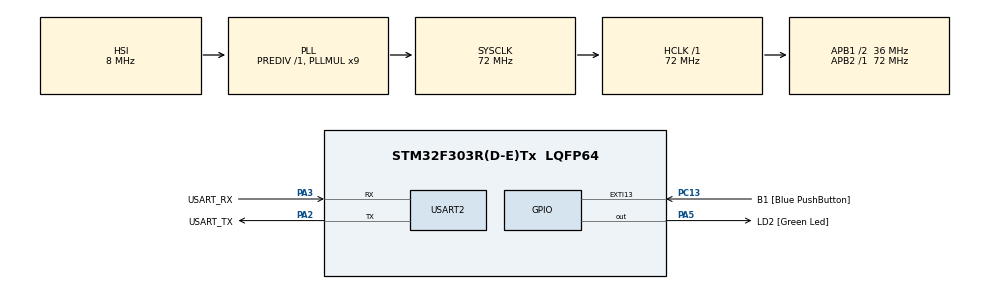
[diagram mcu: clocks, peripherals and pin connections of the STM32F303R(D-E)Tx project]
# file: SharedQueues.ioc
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Mcu.Family=STM32F3
PC15-OSC32_OUT.Mode=LSE-External-Oscillator
PA2.GPIO_PuPd=GPIO_NOPULL
FREERTOS.Queues01=myQueue01,16,uint16_t,0,Static,myQueue01Buffer,myQueue01ControlBlock
VP_SYS_VS_tim6.Mode=TIM6
RCC.CortexFreq_Value=72000000
FREERTOS.Tasks01=queue01,24,128,ManageQueue01,Default,NULL,Dynamic,NULL,NULL;queue02,24,128,ManageQueue02,Default,NULL,Dynamic,NULL,NULL
NVIC.TIM6_DAC_IRQn=true\:0\:0\:false\:false\:true\:false\:false\:true
PC13.Signal=GPXTI13
PA14.GPIO_Label=TCK
RCC.SYSCLKSourceVirtual=RCC_SYSCLKSOURCE_PLLCLK
PA3.GPIO_PuPd=GPIO_NOPULL
PA2.GPIO_Speed=GPIO_SPEED_FREQ_LOW
PC13.GPIO_Label=B1 [Blue PushButton]
RCC.APB1CLKDivider=RCC_HCLK_DIV2
PC14-OSC32_IN.Signal=RCC_OSC32_IN
PA3.GPIO_Speed=GPIO_SPEED_FREQ_LOW
ProjectManager.StackSize=0x400
VP_FREERTOS_VS_CMSIS_V2.Mode=CMSIS_V2
PA13.Signal=SYS_JTMS-SWDIO
PA3.Mode=Asynchronous
ProjectManager.TargetToolchain=STM32CubeIDE
PA3.GPIO_Mode=GPIO_MODE_AF_PP
RCC.HCLKFreq_Value=72000000
RCC.APB2TimFreq_Value=72000000
RCC.USBFreq_Value=72000000
PC15-OSC32_OUT.Signal=RCC_OSC32_OUT
RCC.AHBFreq_Value=72000000
PF0-OSC_IN.Mode=HSE-External-Clock-Source
PA5.Signal=GPIO_Output
RCC.HSE_VALUE=8000000
board=NUCLEO-F303RE
USART2.VirtualMode-Asynchronous=VM_ASYNC
RCC.RCC_PLLsource_Clock_Source_FROM_HSE=RCC_HSE_PREDIV_DIV2
RCC.PLLMUL=RCC_PLL_MUL9
RCC.APB2Freq_Value=72000000
PC14-OSC32_IN.Mode=LSE-External-Oscillator
PA14.Mode=Serial_Wire
PA5.GPIO_PuPd=GPIO_NOPULL
PA13.Mode=Serial_Wire
Mcu.Name=STM32F303R(D-E)Tx
PA2.Signal=USART2_TX
PA13.GPIO_Label=TMS
PB3.Signal=SYS_JTDO-TRACESWO
RCC.SYSCLKFreq_VALUE=72000000
Mcu.Package=LQFP64
NVIC.TimeBase=TIM6_DAC_IRQn
PA5.GPIO_Label=LD2 [Green Led]
PC13.GPIO_ModeDefaultEXTI=GPIO_MODE_IT_FALLING
PA2.GPIO_Label=USART_TX
NVIC.TimeBaseIP=TIM6
PA14.Signal=SYS_JTCK-SWCLK
ProjectManager.HeapSize=0x200
RCC.HSI_VALUE=8000000
RCC.PLLP=RCC_PLLP_DIV4
PA5.GPIO_Speed=GPIO_SPEED_FREQ_LOW
RCC.PLLQ=7
NVIC.PriorityGroup=NVIC_PRIORITYGROUP_4
RCC.PLLM=8
RCC.PLLN=336
RCC.APB1TimFreq_Value=72000000
PA2.Mode=Asynchronous
PF0-OSC_IN.Signal=RCC_OSC_IN
RCC.APB1Freq_Value=36000000
PA5.GPIO_Mode=GPIO_MODE_OUTPUT_PP
PF1-OSC_OUT.Signal=RCC_OSC_OUT
PA3.GPIO_Label=USART_RX
PA3.Signal=USART2_RX
PA2.GPIO_Mode=GPIO_MODE_AF_PP
PB3.GPIO_Label=SWO

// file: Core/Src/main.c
/* USER CODE BEGIN Header */
/**
 ******************************************************************************
 * @file           : main.c
 * @brief          : Main program body
 ******************************************************************************
 * @attention
 *
 * <h2><center>&copy; Copyright (c) 2021 STMicroelectronics.
 * All rights reserved.</center></h2>
 *
 * This software component is licensed by ST under Ultimate Liberty license
 * SLA0044, the "License"; You may not use this file except in compliance with
 * the License. You may obtain a copy of the License at:
 *                             www.st.com/SLA0044
 *
 ******************************************************************************
 */
/* USER CODE END Header */
#include "main.h"
#include "cmsis_os.h"

/* USER CODE BEGIN Includes */
#include "FreeRTOS.h"
#include "queue.h"
#include <stdio.h>
#include <string.h>
/* USER CODE END Includes */

typedef StaticQueue_t osStaticMessageQDef_t;

UART_HandleTypeDef huart2;

/* Definitions for queue01 */
osThreadId_t queue01Handle;
const osThreadAttr_t queue01_attributes = {
  .name = "queue01",
  .priority = (osPriority_t) osPriorityNormal,
  .stack_size = 512
};
/* Definitions for queue02 */
osThreadId_t queue02Handle;
const osThreadAttr_t queue02_attributes = {
  .name = "queue02",
  .priority = (osPriority_t) osPriorityNormal,
  .stack_size = 2048
};
/* Definitions for myQueue01 */
osMessageQueueId_t myQueue01Handle;
uint8_t myQueue01Buffer[ 16 * sizeof( uint16_t ) ];
osStaticMessageQDef_t myQueue01ControlBlock;
const osMessageQueueAttr_t myQueue01_attributes = {
  .name = "myQueue01",
  .cb_mem = &myQueue01ControlBlock,
  .cb_size = sizeof(myQueue01ControlBlock),
  .mq_mem = &myQueue01Buffer,
  .mq_size = sizeof(myQueue01Buffer)
};

void SystemClock_Config(void);
static void MX_GPIO_Init(void);
static void MX_USART2_UART_Init(void);
void ManageQueue01(void *argument);
void ManageQueue02(void *argument);

int main(void)
{

  /* MCU Configuration--------------------------------------------------------*/

  /* Reset of all peripherals, Initializes the Flash interface and the Systick. */
  HAL_Init();

  /* Configure the system clock */
  SystemClock_Config();

  /* Initialize all configured peripherals */
  MX_GPIO_Init();
  MX_USART2_UART_Init();

  /* Init scheduler */
  osKernelInitialize();

  /* Create the queue(s) */
  /* creation of myQueue01 */
  myQueue01Handle = osMessageQueueNew (16, sizeof(uint16_t), &myQueue01_attributes);

  /* Create the thread(s) */
  /* creation of queue01 */
  queue01Handle = osThreadNew(ManageQueue01, NULL, &queue01_attributes);

  /* creation of queue02 */
  queue02Handle = osThreadNew(ManageQueue02, NULL, &queue02_attributes);

  /* Start scheduler */
  osKernelStart();

  /* We should never get here as control is now taken by the scheduler */
  /* Infinite loop */
	while (1) {

	}
}

void SystemClock_Config(void)
{
  RCC_OscInitTypeDef RCC_OscInitStruct = {0};
  RCC_ClkInitTypeDef RCC_ClkInitStruct = {0};
  RCC_PeriphCLKInitTypeDef PeriphClkInit = {0};

  /** Initializes the RCC Oscillators according to the specified parameters
  * in the RCC_OscInitTypeDef structure.
  */
  RCC_OscInitStruct.OscillatorType = RCC_OSCILLATORTYPE_HSI;
  RCC_OscInitStruct.HSIState = RCC_HSI_ON;
  RCC_OscInitStruct.HSICalibrationValue = RCC_HSICALIBRATION_DEFAULT;
  RCC_OscInitStruct.PLL.PLLState = RCC_PLL_ON;
  RCC_OscInitStruct.PLL.PLLSource = RCC_PLLSOURCE_HSI;
  RCC_OscInitStruct.PLL.PLLMUL = RCC_PLL_MUL9;
  RCC_OscInitStruct.PLL.PREDIV = RCC_PREDIV_DIV1;
  if (HAL_RCC_OscConfig(&RCC_OscInitStruct) != HAL_OK)
  {
    Error_Handler();
  }
  /** Initializes the CPU, AHB and APB buses clocks
  */
  RCC_ClkInitStruct.ClockType = RCC_CLOCKTYPE_HCLK|RCC_CLOCKTYPE_SYSCLK
                              |RCC_CLOCKTYPE_PCLK1|RCC_CLOCKTYPE_PCLK2;
  RCC_ClkInitStruct.SYSCLKSource = RCC_SYSCLKSOURCE_PLLCLK;
  RCC_ClkInitStruct.AHBCLKDivider = RCC_SYSCLK_DIV1;
  RCC_ClkInitStruct.APB1CLKDivider = RCC_HCLK_DIV2;
  RCC_ClkInitStruct.APB2CLKDivider = RCC_HCLK_DIV1;

  if (HAL_RCC_ClockConfig(&RCC_ClkInitStruct, FLASH_LATENCY_2) != HAL_OK)
  {
    Error_Handler();
  }
  PeriphClkInit.PeriphClockSelection = RCC_PERIPHCLK_USART2;
  PeriphClkInit.Usart2ClockSelection = RCC_USART2CLKSOURCE_PCLK1;
  if (HAL_RCCEx_PeriphCLKConfig(&PeriphClkInit) != HAL_OK)
  {
    Error_Handler();
  }
}

static void MX_USART2_UART_Init(void)
{

  huart2.Instance = USART2;
  huart2.Init.BaudRate = 38400;
  huart2.Init.WordLength = UART_WORDLENGTH_8B;
  huart2.Init.StopBits = UART_STOPBITS_1;
  huart2.Init.Parity = UART_PARITY_NONE;
  huart2.Init.Mode = UART_MODE_TX_RX;
  huart2.Init.HwFlowCtl = UART_HWCONTROL_NONE;
  huart2.Init.OverSampling = UART_OVERSAMPLING_16;
  huart2.Init.OneBitSampling = UART_ONE_BIT_SAMPLE_DISABLE;
  huart2.AdvancedInit.AdvFeatureInit = UART_ADVFEATURE_NO_INIT;
  if (HAL_UART_Init(&huart2) != HAL_OK)
  {
    Error_Handler();
  }

}

static void MX_GPIO_Init(void)
{
  GPIO_InitTypeDef GPIO_InitStruct = {0};

  /* GPIO Ports Clock Enable */
  __HAL_RCC_GPIOC_CLK_ENABLE();
  __HAL_RCC_GPIOF_CLK_ENABLE();
  __HAL_RCC_GPIOA_CLK_ENABLE();
  __HAL_RCC_GPIOB_CLK_ENABLE();

  /*Configure GPIO pin Output Level */
  HAL_GPIO_WritePin(LD2_GPIO_Port, LD2_Pin, GPIO_PIN_RESET);

  /*Configure GPIO pin : B1_Pin */
  GPIO_InitStruct.Pin = B1_Pin;
  GPIO_InitStruct.Mode = GPIO_MODE_IT_FALLING;
  GPIO_InitStruct.Pull = GPIO_NOPULL;
  HAL_GPIO_Init(B1_GPIO_Port, &GPIO_InitStruct);

  /*Configure GPIO pin : LD2_Pin */
  GPIO_InitStruct.Pin = LD2_Pin;
  GPIO_InitStruct.Mode = GPIO_MODE_OUTPUT_PP;
  GPIO_InitStruct.Pull = GPIO_NOPULL;
  GPIO_InitStruct.Speed = GPIO_SPEED_FREQ_LOW;
  HAL_GPIO_Init(LD2_GPIO_Port, &GPIO_InitStruct);

}

void ManageQueue01(void *argument)
{
  /* USER CODE BEGIN 5 */
  /* Infinite loop */
	char msg[1000];
	uint16_t number = 0;

	//sprintf(msg, "Start put\n");
	HAL_UART_Transmit(&huart2, (uint8_t*) msg, strlen(msg), HAL_MAX_DELAY);
	for (;;) {

		osMessageQueueGet(myQueue01Handle, &number, NULL, 0);
		sprintf(msg, "Get value: number =  %hu\n", number);

		HAL_UART_Transmit(&huart2, (uint8_t*) msg, strlen(msg), HAL_MAX_DELAY);

		osDelay(1000);
	}
  /* USER CODE END 5 */
}

void ManageQueue02(void *argument)
{
  /* USER CODE BEGIN ManageQueue02 */
	/* Infinite loop */
	char msg[1000];
	uint16_t number = 310;

	//sprintf(msg, "Start put\n");
	HAL_UART_Transmit(&huart2, (uint8_t*) msg, strlen(msg), HAL_MAX_DELAY);
	for (;;) {

		number++;
		sprintf(msg, "Put value: number =  %hu\n", number);

		osMessageQueuePut(myQueue01Handle, &number, 0, 100);

		HAL_UART_Transmit(&huart2, (uint8_t*) msg, strlen(msg), HAL_MAX_DELAY);

		osDelay(1000);
	}

  /* USER CODE END ManageQueue02 */
}

 /**
  * @brief  Period elapsed callback in non blocking mode
  * @note   This function is called  when TIM6 interrupt took place, inside
  * HAL_TIM_IRQHandler(). It makes a direct call to HAL_IncTick() to increment
  * a global variable "uwTick" used as application time base.
  * @param  htim : TIM handle
  * @retval None
  */
void HAL_TIM_PeriodElapsedCallback(TIM_HandleTypeDef *htim)
{
  if (htim->Instance == TIM6) {
    HAL_IncTick();
  }
}

void Error_Handler(void)
{
	__disable_irq();
	while (1) {
	}
}

/************************ (C) COPYRIGHT STMicroelectronics *****END OF FILE****/
